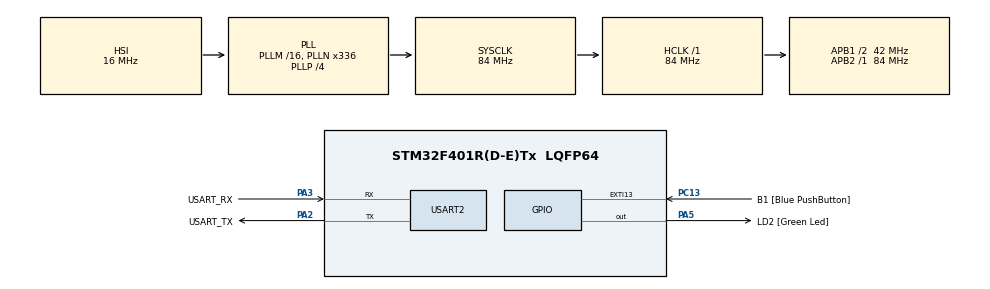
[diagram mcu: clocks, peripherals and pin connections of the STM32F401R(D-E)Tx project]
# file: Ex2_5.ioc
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Mcu.Family=STM32F4
Mcu.Name=STM32F401R(D-E)Tx
Mcu.Package=LQFP64
NVIC.PriorityGroup=NVIC_PRIORITYGROUP_0
PA13.GPIO_Label=TMS
PA13.Mode=Trace_Asynchronous_SW
PA13.Signal=SYS_JTMS-SWDIO
PA14.GPIO_Label=TCK
PA14.Mode=Trace_Asynchronous_SW
PA14.Signal=SYS_JTCK-SWCLK
PA2.GPIO_Label=USART_TX
PA2.GPIO_Mode=GPIO_MODE_AF_PP
PA2.GPIO_PuPd=GPIO_NOPULL
PA2.GPIO_Speed=GPIO_SPEED_FREQ_LOW
PA2.Mode=Asynchronous
PA2.Signal=USART2_TX
PA3.GPIO_Label=USART_RX
PA3.GPIO_Mode=GPIO_MODE_AF_PP
PA3.GPIO_PuPd=GPIO_NOPULL
PA3.GPIO_Speed=GPIO_SPEED_FREQ_LOW
PA3.Mode=Asynchronous
PA3.Signal=USART2_RX
PA5.GPIO_Label=LD2 [Green Led]
PA5.GPIO_Mode=GPIO_MODE_OUTPUT_PP
PA5.GPIO_PuPd=GPIO_NOPULL
PA5.GPIO_Speed=GPIO_SPEED_FREQ_LOW
PA5.Signal=GPIO_Output
PB3.GPIO_Label=SWO
PB3.Mode=Trace_Asynchronous_SW
PB3.Signal=SYS_JTDO-SWO
PC13-ANTI_TAMP.GPIO_Label=B1 [Blue PushButton]
PC13-ANTI_TAMP.GPIO_ModeDefaultEXTI=GPIO_MODE_IT_FALLING
PC13-ANTI_TAMP.GPIO_PuPd=GPIO_NOPULL
PC13-ANTI_TAMP.Signal=GPXTI13
PC14-OSC32_IN.Mode=LSE-External-Oscillator
PC14-OSC32_IN.Signal=RCC_OSC32_IN
PC15-OSC32_OUT.Mode=LSE-External-Oscillator
PC15-OSC32_OUT.Signal=RCC_OSC32_OUT
PH0\ -\ OSC_IN.Mode=HSE-External-Clock-Source
PH0\ -\ OSC_IN.Signal=RCC_OSC_IN
PH1\ -\ OSC_OUT.Mode=HSE-External-Clock-Source
PH1\ -\ OSC_OUT.Signal=RCC_OSC_OUT
ProjectManager.HeapSize=0x200
ProjectManager.StackSize=0x400
ProjectManager.TargetToolchain=STM32CubeIDE
RCC.48MHZClocksFreq_Value=48000000
RCC.AHBFreq_Value=84000000
RCC.APB1CLKDivider=RCC_HCLK_DIV2
RCC.APB1Freq_Value=42000000
RCC.APB1TimFreq_Value=84000000
RCC.APB2Freq_Value=84000000
RCC.APB2TimFreq_Value=84000000
RCC.CortexFreq_Value=84000000
RCC.HCLKFreq_Value=84000000
RCC.HSE_VALUE=8000000
RCC.HSI_VALUE=16000000
RCC.PLLN=336
RCC.PLLP=RCC_PLLP_DIV4
RCC.PLLQ=7
RCC.SYSCLKFreq_VALUE=84000000
RCC.SYSCLKSource=RCC_SYSCLKSOURCE_PLLCLK
RCC.VCOOutputFreq_Value=336000000
USART2.VirtualMode=VM_ASYNC
board=NUCLEO-F401RE

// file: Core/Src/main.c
/* USER CODE BEGIN Header */
/**
  ******************************************************************************
  * @file           : main.c
  * @brief          : Main program body
  ******************************************************************************
  * @attention
  *
  * Copyright (c) 2023 STMicroelectronics.
  * All rights reserved.
  *
  * This software is licensed under terms that can be found in the LICENSE file
  * in the root directory of this software component.
  * If no LICENSE file comes with this software, it is provided AS-IS.
  *
  ******************************************************************************
  */
/* USER CODE END Header */
#include "main.h"

/* USER CODE BEGIN Includes */
#include <stdio.h>
/* USER CODE END Includes */

UART_HandleTypeDef huart2;

void SystemClock_Config(void);
static void MX_GPIO_Init(void);
static void MX_USART2_UART_Init(void);

int main(void)
{
  /* USER CODE BEGIN 1 */
  GPIO_PinState button_curr = GPIO_PIN_SET;
  GPIO_PinState button_prev = GPIO_PIN_SET;
  GPIO_PinState button_temp = GPIO_PIN_SET;
  int32_t count = 0;
  /* USER CODE END 1 */

  /* MCU Configuration--------------------------------------------------------*/

  /* Reset of all peripherals, Initializes the Flash interface and the Systick. */
  HAL_Init();

  /* Configure the system clock */
  SystemClock_Config();

  /* Initialize all configured peripherals */
  MX_GPIO_Init();
  MX_USART2_UART_Init();

  /* Infinite loop */
  /* USER CODE BEGIN WHILE */
  while (1)
  {
	button_temp = HAL_GPIO_ReadPin(GPIOC, GPIO_PIN_13);
	HAL_Delay(1);
	if(button_temp == HAL_GPIO_ReadPin(GPIOC, GPIO_PIN_13))
	{
		button_curr = button_temp;
	}
	if(button_curr == GPIO_PIN_RESET && button_prev == GPIO_PIN_SET)
	{
		printf("You pressed the button %d times.\r\n", (int)++count);
	}
	button_prev = button_curr;
    /* USER CODE END WHILE */

  }
}

void SystemClock_Config(void)
{
  RCC_OscInitTypeDef RCC_OscInitStruct = {0};
  RCC_ClkInitTypeDef RCC_ClkInitStruct = {0};

  /** Configure the main internal regulator output voltage
  */
  __HAL_RCC_PWR_CLK_ENABLE();
  __HAL_PWR_VOLTAGESCALING_CONFIG(PWR_REGULATOR_VOLTAGE_SCALE2);

  /** Initializes the RCC Oscillators according to the specified parameters
  * in the RCC_OscInitTypeDef structure.
  */
  RCC_OscInitStruct.OscillatorType = RCC_OSCILLATORTYPE_HSI;
  RCC_OscInitStruct.HSIState = RCC_HSI_ON;
  RCC_OscInitStruct.HSICalibrationValue = RCC_HSICALIBRATION_DEFAULT;
  RCC_OscInitStruct.PLL.PLLState = RCC_PLL_ON;
  RCC_OscInitStruct.PLL.PLLSource = RCC_PLLSOURCE_HSI;
  RCC_OscInitStruct.PLL.PLLM = 16;
  RCC_OscInitStruct.PLL.PLLN = 336;
  RCC_OscInitStruct.PLL.PLLP = RCC_PLLP_DIV4;
  RCC_OscInitStruct.PLL.PLLQ = 7;
  if (HAL_RCC_OscConfig(&RCC_OscInitStruct) != HAL_OK)
  {
    Error_Handler();
  }

  /** Initializes the CPU, AHB and APB buses clocks
  */
  RCC_ClkInitStruct.ClockType = RCC_CLOCKTYPE_HCLK|RCC_CLOCKTYPE_SYSCLK
                              |RCC_CLOCKTYPE_PCLK1|RCC_CLOCKTYPE_PCLK2;
  RCC_ClkInitStruct.SYSCLKSource = RCC_SYSCLKSOURCE_PLLCLK;
  RCC_ClkInitStruct.AHBCLKDivider = RCC_SYSCLK_DIV1;
  RCC_ClkInitStruct.APB1CLKDivider = RCC_HCLK_DIV2;
  RCC_ClkInitStruct.APB2CLKDivider = RCC_HCLK_DIV1;

  if (HAL_RCC_ClockConfig(&RCC_ClkInitStruct, FLASH_LATENCY_2) != HAL_OK)
  {
    Error_Handler();
  }
}

static void MX_USART2_UART_Init(void)
{

  huart2.Instance = USART2;
  huart2.Init.BaudRate = 115200;
  huart2.Init.WordLength = UART_WORDLENGTH_8B;
  huart2.Init.StopBits = UART_STOPBITS_1;
  huart2.Init.Parity = UART_PARITY_NONE;
  huart2.Init.Mode = UART_MODE_TX_RX;
  huart2.Init.HwFlowCtl = UART_HWCONTROL_NONE;
  huart2.Init.OverSampling = UART_OVERSAMPLING_16;
  if (HAL_UART_Init(&huart2) != HAL_OK)
  {
    Error_Handler();
  }

}

static void MX_GPIO_Init(void)
{
  GPIO_InitTypeDef GPIO_InitStruct = {0};

  /* GPIO Ports Clock Enable */
  __HAL_RCC_GPIOC_CLK_ENABLE();
  __HAL_RCC_GPIOH_CLK_ENABLE();
  __HAL_RCC_GPIOA_CLK_ENABLE();
  __HAL_RCC_GPIOB_CLK_ENABLE();

  /*Configure GPIO pin Output Level */
  HAL_GPIO_WritePin(LD2_GPIO_Port, LD2_Pin, GPIO_PIN_RESET);

  /*Configure GPIO pin : B1_Pin */
  GPIO_InitStruct.Pin = B1_Pin;
  GPIO_InitStruct.Mode = GPIO_MODE_IT_FALLING;
  GPIO_InitStruct.Pull = GPIO_NOPULL;
  HAL_GPIO_Init(B1_GPIO_Port, &GPIO_InitStruct);

  /*Configure GPIO pin : LD2_Pin */
  GPIO_InitStruct.Pin = LD2_Pin;
  GPIO_InitStruct.Mode = GPIO_MODE_OUTPUT_PP;
  GPIO_InitStruct.Pull = GPIO_NOPULL;
  GPIO_InitStruct.Speed = GPIO_SPEED_FREQ_LOW;
  HAL_GPIO_Init(LD2_GPIO_Port, &GPIO_InitStruct);

}

/* USER CODE BEGIN 4 */
int __io_putchar(int ch)
{
	ITM_SendChar(ch);
	return 0;
}
/* USER CODE END 4 */

void Error_Handler(void)
{
  __disable_irq();
  while (1)
  {
  }
}
